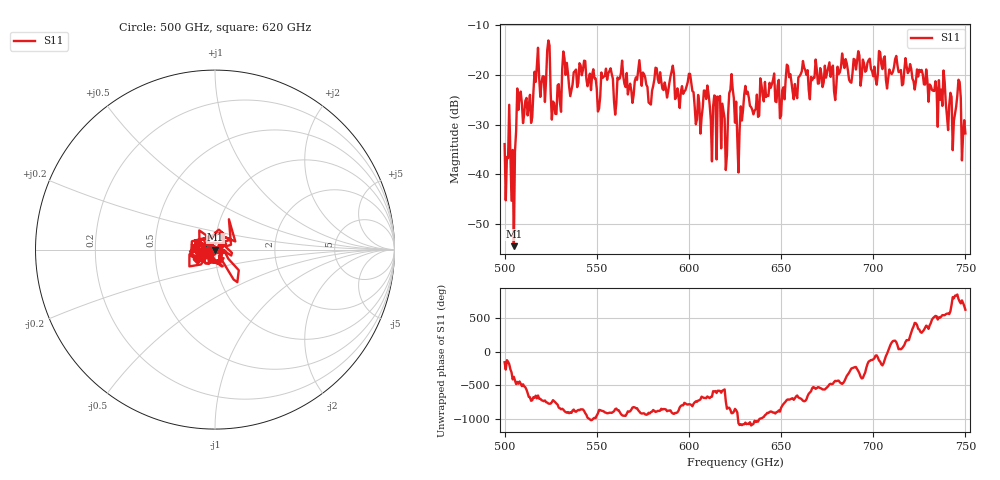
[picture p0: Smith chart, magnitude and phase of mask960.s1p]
!Created with skrf (http://scikit-rf.org).
# GHz S MA R 50.0
!freq magS11 angS11
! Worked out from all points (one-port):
!   401 points, 500 GHz to 750 GHz, reference 50 ohm
!   lowest |S11| = -54.4 dB at 505 GHz (marker M1), VSWR 1.00, Z = 50.2 - j0.0484 ohm
!   |S11| at or under -10 dB: start of sweep to end of sweep
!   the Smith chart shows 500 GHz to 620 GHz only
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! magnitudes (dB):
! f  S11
! 500 GHz  -33.9
! 505 GHz  -54.4
! 508.1 GHz  -24.1
! 513.8 GHz  -24.0
! 516.9 GHz  -21.5
! 523.8 GHz  -13.1
! 526.9 GHz  -25.7
! 531.2 GHz  -18.8
! 542.5 GHz  -19.1
! 550.6 GHz  -27.4
! 562.5 GHz  -20.7
! 578.8 GHz  -25.8
! 590.6 GHz  -19.4
! 593.8 GHz  -22.8
! 600.6 GHz  -19.9
! 605 GHz  -24.1
! 609.4 GHz  -24.9
! 620 GHz  -39.1
! 623.1 GHz  -19.9
! 625 GHz  -29.6
! 627.5 GHz  -31.1
! 631.2 GHz  -23.8
! 656.2 GHz  -23.4
! 687.5 GHz  -21.5
! 718.8 GHz  -19.7
! 743.8 GHz  -29.3
! 746.2 GHz  -21.0
! 750 GHz  -31.8
